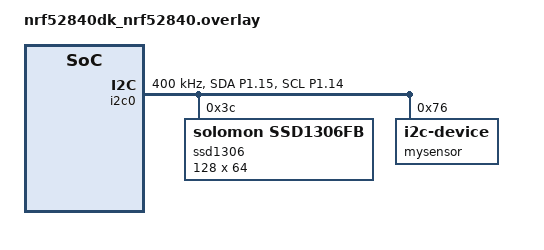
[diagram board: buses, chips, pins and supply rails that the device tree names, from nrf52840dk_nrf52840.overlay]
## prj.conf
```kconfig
CONFIG_LV_Z_MEM_POOL_SIZE=16384
CONFIG_LV_Z_SHELL=y
CONFIG_MAIN_STACK_SIZE=4096

CONFIG_DISPLAY=y
CONFIG_DISPLAY_LOG_LEVEL_ERR=y

CONFIG_LOG=y
CONFIG_SHELL=y

CONFIG_LVGL=y
CONFIG_LV_USE_LOG=y
CONFIG_LV_USE_LABEL=y
CONFIG_LV_USE_ARC=y
CONFIG_LV_USE_MONKEY=y
CONFIG_LV_FONT_MONTSERRAT_14=y

CONFIG_LV_USE_THEME_DEFAULT=y
CONFIG_LV_Z_VDB_SIZE=64
CONFIG_LV_COLOR_DEPTH_1=y

CONFIG_I2C=y
CONFIG_SSD1306=y
#CONFIG_SSD1306_DEFAULT_CONTRAST=128
CONFIG_CBPRINTF_FP_SUPPORT=y
#CONFIG_NRFX_TWIM_LOG=y 
```

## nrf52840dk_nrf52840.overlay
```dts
// To get started, press Ctrl+Space to bring up the completion menu and view the available nodes.

// You can also use the buttons in the sidebar to perform actions on nodes.
// Actions currently available include:

// * Enabling / disabling the node
// * Adding the bus to a bus
// * Removing the node
// * Connecting ADC channels

// For more help, browse the DeviceTree documentation at https://docs.zephyrproject.org/latest/guides/dts/index.html
// You can also visit the nRF DeviceTree extension documentation at https://docs.nordicsemi.com/bundle/nrf-connect-vscode/page/guides/ncs_configure_app.html#devicetree-support-in-the-extension

/ {
	chosen {
		zephyr,display = &ssd1306;
	};
};


&i2c0 {
    compatible = "nordic,nrf-twim";
    status = "okay";
    pinctrl-0 = <&i2c0_default>;
    pinctrl-1 = <&i2c0_sleep>;
    pinctrl-names = "default", "sleep";
    clock-frequency = <I2C_BITRATE_FAST>;
    zephyr,concat-buf-size = <4096>;

    ssd1306: ssd1306@3c {
        compatible = "solomon,ssd1306fb";
        reg = <0x3c>;
        height = <64>;
        width = <128>;
        segment-offset = <0>;
        page-offset = <0>;
        display-offset = <0>;
        multiplex-ratio = <63>;
        prechargep = <0x22>;
        com-invdir;
        segment-remap;
		inversion-on;
    };
    mysensor: mysensor@76{
        compatible = "i2c-device";
        status = "okay";
        reg = <0x76>;
    };
};


&pinctrl {
	/omit-if-no-ref/ i2c0_default: i2c0_default {
		group1  {
			psels = <NRF_PSEL(TWIM_SDA, 1, 15)>, <NRF_PSEL(TWIM_SCL, 1, 14)>;
			bias-pull-up;
		};
	};

	/omit-if-no-ref/ i2c0_sleep: i2c0_sleep {
		group1  {
			psels = <NRF_PSEL(TWIM_SCL, 1, 14)>,
					<NRF_PSEL(TWIM_SDA, 1, 15)>;
			low-power-enable;
		};
	};
};
```

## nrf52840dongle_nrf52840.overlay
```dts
// To get started, press Ctrl+Space to bring up the completion menu and view the available nodes.

// You can also use the buttons in the sidebar to perform actions on nodes.
// Actions currently available include:

// * Enabling / disabling the node
// * Adding the bus to a bus
// * Removing the node
// * Connecting ADC channels

// For more help, browse the DeviceTree documentation at https://docs.zephyrproject.org/latest/guides/dts/index.html
// You can also visit the nRF DeviceTree extension documentation at https://docs.nordicsemi.com/bundle/nrf-connect-vscode/page/guides/ncs_configure_app.html#devicetree-support-in-the-extension

/ {
	chosen {
		zephyr,display = &ssd1306;
	};
};


&i2c0 {
    compatible = "nordic,nrf-twim";
    status = "okay";
    pinctrl-0 = <&i2c0_default>;
    pinctrl-1 = <&i2c0_sleep>;
    pinctrl-names = "default", "sleep";
    clock-frequency = <I2C_BITRATE_FAST>;
    zephyr,concat-buf-size = <4096>;

    ssd1306: ssd1306@3c {
        compatible = "solomon,ssd1306fb";
        reg = <0x3c>;
        height = <64>;
        width = <128>;
        segment-offset = <0>;
        page-offset = <0>;
        display-offset = <0>;
        multiplex-ratio = <63>;
        prechargep = <0x22>;
        com-invdir;
        segment-remap;
		inversion-on;
    };
    mysensor: mysensor@76{
        compatible = "i2c-device";
        status = "okay";
        reg = <0x76>;
    };
};


&pinctrl {
	/omit-if-no-ref/ i2c0_default: i2c0_default {
		group1  {
			psels = <NRF_PSEL(TWIM_SDA, 1, 10)>, <NRF_PSEL(TWIM_SCL, 0, 2)>;
			bias-pull-up;
		};
	};

	/omit-if-no-ref/ i2c0_sleep: i2c0_sleep {
		group1  {
			psels = <NRF_PSEL(TWIM_SCL, 1, 14)>,
					<NRF_PSEL(TWIM_SDA, 1, 15)>;
			low-power-enable;
		};
	};
};
```

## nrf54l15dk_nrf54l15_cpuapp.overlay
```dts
// To get started, press Ctrl+Space to bring up the completion menu and view the available nodes.

// You can also use the buttons in the sidebar to perform actions on nodes.
// Actions currently available include:

// * Enabling / disabling the node
// * Adding the bus to a bus
// * Removing the node
// * Connecting ADC channels

// For more help, browse the DeviceTree documentation at https://docs.zephyrproject.org/latest/guides/dts/index.html
// You can also visit the nRF DeviceTree extension documentation at https://docs.nordicsemi.com/bundle/nrf-connect-vscode/page/guides/ncs_configure_app.html#devicetree-support-in-the-extension
/ {
	chosen {
		zephyr,display = &ssd1306;
	};
};


&i2c22 {
    status = "okay";
    pinctrl-0 = <&i2c22_default>;
	pinctrl-1 = <&i2c22_sleep>;
    pinctrl-names = "default", "sleep";

    compatible = "nordic,nrf-twim";
    clock-frequency = <I2C_BITRATE_FAST>;
    zephyr,concat-buf-size = <4096>;

    mysensor: mysensor@76{
        compatible = "i2c-device";
        status = "okay";
        reg = < 0x76 >;
    };

    ssd1306: ssd1306@3c {
        compatible = "solomon,ssd1306fb";
        reg = <0x3c>;
        height = <64>;
        width = <128>;
        segment-offset = <0>;
        page-offset = <0>;
        display-offset = <0>;
        multiplex-ratio = <63>;
        prechargep = <0x22>;
        com-invdir;
        segment-remap;
		inversion-on;
    };

};

&pinctrl {
	/omit-if-no-ref/ i2c22_default: i2c22_default {
		group1  {
			psels = <NRF_PSEL(TWIM_SCL, 1, 11)>,
					<NRF_PSEL(TWIM_SDA, 1, 12)>;
			bias-pull-up;	
		};
	};

	/omit-if-no-ref/ i2c22_sleep: i2c22_sleep {
		group1  {
			psels = <NRF_PSEL(TWIM_SCL, 1, 11)>,
					<NRF_PSEL(TWIM_SDA, 1, 12)>;
			low-power-enable;
		};
	};
};
```

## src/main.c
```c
#include <lvgl.h>
#include <lvgl_input_device.h>
#include <stdint.h>
#include <string.h>
#include <zephyr/device.h>
#include <zephyr/devicetree.h>
#include <zephyr/drivers/display.h>
#include <zephyr/drivers/gpio.h>
#include <zephyr/kernel.h>
#include <zephyr/logging/log.h>
#include <zephyr/drivers/i2c.h>
#include "logo_image.h"

#define BASIC_TEST

#define DISPLAY_BUFFER_PITCH 128

LOG_MODULE_REGISTER(display);

#ifdef BASIC_TEST
static uint32_t count;

static const struct device *display = DEVICE_DT_GET(DT_CHOSEN(zephyr_display));

static struct gpio_dt_spec btn0_gpio = GPIO_DT_SPEC_GET_OR(DT_ALIAS(sw0), gpios, {0});
static struct gpio_callback btn0_callback;

static void btn01_isr_callback(const struct device *port, struct gpio_callback *cb, uint32_t pins)
{
    ARG_UNUSED(port);
    ARG_UNUSED(cb);
    ARG_UNUSED(pins);

    count = 0;
}

static void lv_btn_click_callback(lv_event_t *e)
{
    ARG_UNUSED(e);

    count = 0;
}

#define CHIP_ID  0x58
#define SENSOR_CONFIG_VALUE 0x93
#define CTRLMEAS 0xF4
#define CALIB00	 0x88
#define ID	     0xD0
#define TEMPMSB	 0xFA

#define I2C_NODE DT_NODELABEL(mysensor)

/* Data structure to store BME280 data */
struct bme280_data {
	/* Compensation parameters */
	uint16_t dig_t1;
	int16_t dig_t2;
	int16_t dig_t3;
} bmedata;


void bme_calibrationdata(const struct i2c_dt_spec *spec, struct bme280_data *sensor_data_ptr)
{
	/* Step 10 - Put calibration function code */
	uint8_t values[6];

	int ret = i2c_burst_read_dt(spec, CALIB00, values, 6);

	if (ret != 0) {
		printk("Failed to read register %x \n", CALIB00);
		return;
	}
	sensor_data_ptr->dig_t1 = ((uint16_t)values[1]) << 8 | values[0];
	sensor_data_ptr->dig_t2 = ((uint16_t)values[3]) << 8 | values[2];
	sensor_data_ptr->dig_t3 = ((uint16_t)values[5]) << 8 | values[4];
	
}

/* Compensate current temperature using previously stored sensor calibration data */
static int32_t bme280_compensate_temp(struct bme280_data *data, int32_t adc_temp)
{
	int32_t var1, var2;

	var1 = (((adc_temp >> 3) - ((int32_t)data->dig_t1 << 1)) * ((int32_t)data->dig_t2)) >> 11;

	var2 = (((((adc_temp >> 4) - ((int32_t)data->dig_t1)) *
		  ((adc_temp >> 4) - ((int32_t)data->dig_t1))) >>
		 12) *
		((int32_t)data->dig_t3)) >>
	       14;

	return ((var1 + var2) * 5 + 128) >> 8;
}
static const struct i2c_dt_spec dev_i2c = I2C_DT_SPEC_GET(I2C_NODE);
static int init_sensor()
{
	/* STEP 7 - Retrieve the API-specific device structure and make sure that the device is
	 * ready to use  */

	if (!device_is_ready(dev_i2c.bus)) {
		printk("I2C bus %s is not ready!\n\r",dev_i2c.bus->name);
		return -1;
	}
	/* STEP 9 - Verify it is proper device by reading device id  */
	  uint8_t id = 0;
	uint8_t regs[] = {ID};

	int ret = i2c_write_read_dt(&dev_i2c, regs, 1, &id, 1);

	if (ret != 0) {
		printk("Failed to read register %x \n", regs[0]);
		return -1;
	}

	if (id != CHIP_ID) {
		printk("Invalid chip id! %x \n", id);
		return -1;
	}

	bme_calibrationdata(&dev_i2c, &bmedata);

	/* STEP 11 - Setup the sensor by writing the value 0x93 to the Configuration register */
	uint8_t sensor_config[] = {CTRLMEAS, SENSOR_CONFIG_VALUE};

	
	ret = i2c_write_dt(&dev_i2c, sensor_config, 2);

	if (ret != 0) {
		printk("Failed to write register %x \n", sensor_config[0]);
		return -1;
	}
}

static float get_temp()
{
	uint8_t temp_val[3] = {0};

	int ret = i2c_burst_read_dt(&dev_i2c, TEMPMSB, temp_val, 3);

	if (ret != 0)
	{
		printk("Failed to read register %x \n", TEMPMSB);
		k_msleep(100);
		return 0.0;
	}
	/* STEP 12.1 - Put the data read from registers into actual order (see datasheet) */
	int32_t adc_temp =
		(temp_val[0] << 12) | (temp_val[1] << 4) | ((temp_val[2] >> 4) & 0x0F);
	/* STEP 12.2 - Compensate temperature */
	int32_t comp_temp = bme280_compensate_temp(&bmedata, adc_temp);
	/* STEP 12.3 - Convert temperature */
	float temperature = (float)comp_temp / 100.0f;

	return temperature;
}
int main(void)
{
	init_sensor();
    if (display == NULL)
    {
        LOG_ERR("device pointer is NULL");
        return 0;
    }

    if (!device_is_ready(display))
    {
        LOG_ERR("display device is not ready");
        return 0;
    }

    if (gpio_is_ready_dt(&btn0_gpio))
    {
        int err;

        err = gpio_pin_configure_dt(&btn0_gpio, GPIO_INPUT);
        if (err)
        {
            LOG_ERR("failed to configure button gpio: %d", err);
            return 0;
        }

        gpio_init_callback(&btn0_callback, btn01_isr_callback, BIT(btn0_gpio.pin));

        err = gpio_add_callback(btn0_gpio.port, &btn0_callback);
        if (err)
        {
            LOG_ERR("failed to add button callback: %d", err);
            return 0;
        }

        err = gpio_pin_interrupt_configure_dt(&btn0_gpio, GPIO_INT_EDGE_TO_ACTIVE);
        if (err)
        {
            LOG_ERR("failed to enable button callback: %d", err);
            return 0;
        }
    }

    struct display_capabilities capabilities;
    display_get_capabilities(display, &capabilities);

    const uint16_t x_res = capabilities.x_resolution;
    const uint16_t y_res = capabilities.y_resolution;

    LOG_INF("x_resolution: %d", x_res);
    LOG_INF("y_resolution: %d", y_res);
    LOG_INF("supported pixel formats: %d", capabilities.supported_pixel_formats);
    LOG_INF("screen_info: %d", capabilities.screen_info);
    LOG_INF("current_pixel_format: %d", capabilities.current_pixel_format);
    LOG_INF("current_orientation: %d", capabilities.current_orientation);

    display_blanking_off(display);

    const struct display_buffer_descriptor buf_desc = {
        .width = x_res, .height = y_res, .buf_size = x_res * y_res, .pitch = DISPLAY_BUFFER_PITCH};

    if (display_write(display, 0, 0, &buf_desc, logo_buf) != 0)
    {
        LOG_ERR("could not write to display");
    }

    if (display_set_contrast(display, 0) != 0)
    {
        LOG_ERR("could not set display contrast");
    }

    const size_t ms_sleep = 5;

    // Increase brightness
    for (size_t i = 0; i < 255; i++)
    {
        display_set_contrast(display, i);
        k_sleep(K_MSEC(ms_sleep));
    }

    // Decrease brightness
    for (size_t i = 255; i > 0; i--)
    {
        display_set_contrast(display, i);
        k_sleep(K_MSEC(ms_sleep));
    }

    display_blanking_on(display);

    char count_str[11] = {0};
    lv_obj_t *hello_world_label;
    lv_obj_t *count_label;

    if (IS_ENABLED(CONFIG_LV_Z_POINTER_INPUT))
    {
        lv_obj_t *hello_world_button;

        hello_world_button = lv_btn_create(lv_scr_act());
        lv_obj_align(hello_world_button, LV_ALIGN_CENTER, 0, -15);
        lv_obj_add_event_cb(hello_world_button, lv_btn_click_callback, LV_EVENT_CLICKED, NULL);
        hello_world_label = lv_label_create(hello_world_button);
    }
    else
    {
        hello_world_label = lv_label_create(lv_scr_act());
    }

    lv_label_set_text(hello_world_label, "Temperature");
    lv_obj_align(hello_world_label, LV_ALIGN_CENTER, 0, 0);

    count_label = lv_label_create(lv_scr_act());
    lv_obj_align(count_label, LV_ALIGN_BOTTOM_MID, 0, 0);

    lv_task_handler();
    display_blanking_off(display);

    while (true)
    {

		float temperature = get_temp();
		char temp_str[] = "-1000.00 C";
		sprintf(temp_str, "%8.2f C", temperature);
		lv_label_set_text(count_label, temp_str);
		lv_task_handler();
        k_sleep(K_MSEC(1000));
    }
}

#else

#endif
```

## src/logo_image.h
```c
uint8_t buf[1024] = {
    0x00, 0x00, 0x00, 0x00, 0x00, 0x00, 0x00, 0x00, 0x00, 0x00, 0x00, 0x00, 0x00, 0x00, 0x00, 0x00, 0x00, 0x00, 0x00,
    0x00, 0x00, 0x00, 0x00, 0x00, 0x00, 0x00, 0x00, 0x00, 0x00, 0x00, 0x00, 0x00, 0x00, 0x00, 0x00, 0x00, 0x00, 0x00,
    0x00, 0x00, 0x00, 0x00, 0x00, 0x00, 0x00, 0x00, 0x00, 0x00, 0x00, 0x00, 0x00, 0x00, 0x00, 0x00, 0x00, 0x00, 0x00,
    0x00, 0x00, 0x80, 0x80, 0x80, 0x80, 0x00, 0x00, 0x80, 0x80, 0x80, 0x80, 0x00, 0x00, 0x00, 0x00, 0x00, 0x00, 0x00,
    0x00, 0x00, 0x00, 0x00, 0x00, 0x00, 0x00, 0x00, 0x00, 0x00, 0x00, 0x00, 0x00, 0x00, 0x00, 0x00, 0x00, 0x00, 0x00,
    0x00, 0x00, 0x00, 0x00, 0x00, 0x00, 0x00, 0x00, 0x00, 0x00, 0x00, 0x00, 0x00, 0x00, 0x00, 0x00, 0x00, 0x00, 0x00,
    0x00, 0x00, 0x00, 0x00, 0x00, 0x00, 0x00, 0x00, 0x00, 0x00, 0x00, 0x00, 0x00, 0x00, 0x00, 0x00, 0x00, 0x00, 0x00,
    0x00, 0x00, 0x00, 0x00, 0x00, 0x00, 0x00, 0x00, 0x00, 0x00, 0x00, 0x00, 0x00, 0x00, 0x00, 0x00, 0x00, 0x00, 0x00,
    0x00, 0x00, 0x00, 0x00, 0x00, 0x00, 0x00, 0x00, 0x00, 0x00, 0x00, 0x00, 0x00, 0x00, 0x00, 0x00, 0x00, 0x00, 0x00,
    0x00, 0x00, 0x00, 0x00, 0x80, 0xc0, 0xe0, 0xf0, 0xf8, 0xfc, 0xfc, 0xfe, 0xfe, 0xff, 0xff, 0xff, 0x1f, 0x1f, 0x0f,
    0x0f, 0x00, 0x00, 0x0f, 0x0f, 0x1f, 0x1f, 0xff, 0xff, 0xff, 0xfe, 0xfe, 0xfc, 0xfc, 0xf8, 0xf0, 0xe0, 0xc0, 0x80,
    0x00, 0x00, 0x00, 0x00, 0x00, 0x00, 0x00, 0x00, 0x00, 0x00, 0x00, 0x00, 0x00, 0x00, 0x00, 0x00, 0x00, 0x00, 0x00,
    0x00, 0x00, 0x00, 0x00, 0x00, 0x00, 0x00, 0x00, 0x00, 0x00, 0x00, 0x00, 0x00, 0x00, 0x00, 0x00, 0x00, 0x00, 0x00,
    0x00, 0x00, 0x00, 0x00, 0x00, 0x00, 0x00, 0x00, 0x00, 0x00, 0x00, 0x00, 0x00, 0x00, 0x00, 0x00, 0x00, 0x00, 0x00,
    0x00, 0x00, 0x00, 0x00, 0x00, 0x00, 0x00, 0x00, 0x00, 0x00, 0x00, 0x00, 0x00, 0x00, 0x00, 0x00, 0x00, 0x00, 0x00,
    0x00, 0x00, 0x00, 0x00, 0x00, 0x00, 0x00, 0x00, 0x00, 0x00, 0x00, 0x00, 0x00, 0x00, 0x00, 0xc0, 0xf8, 0xfe, 0xff,
    0xff, 0xff, 0xff, 0xff, 0xff, 0xff, 0xff, 0xff, 0xff, 0xff, 0xff, 0x86, 0x86, 0x86, 0x86, 0x86, 0x86, 0x86, 0x86,
    0x86, 0x86, 0xff, 0xff, 0xff, 0xff, 0xff, 0xff, 0xff, 0xff, 0xff, 0xff, 0xff, 0xff, 0xfe, 0xf8, 0xc0, 0x00, 0x00,
    0x00, 0x00, 0x00, 0x00, 0x00, 0x00, 0x00, 0x00, 0x00, 0x00, 0x00, 0x00, 0x00, 0x00, 0x00, 0x00, 0x00, 0x00, 0x00,
    0x00, 0x00, 0x00, 0x00, 0x00, 0x00, 0x00, 0x00, 0x00, 0x00, 0x00, 0x00, 0x00, 0x00, 0x00, 0x00, 0x00, 0x00, 0x00,
    0x00, 0x00, 0x00, 0x00, 0x00, 0x00, 0x00, 0x00, 0x00, 0x00, 0x00, 0x00, 0x00, 0x00, 0x00, 0x00, 0x00, 0x00, 0x00,
    0x00, 0x00, 0x00, 0x00, 0x00, 0x00, 0x00, 0x00, 0x00, 0x00, 0x00, 0x00, 0x00, 0x00, 0x00, 0x00, 0x00, 0x00, 0x00,
    0x00, 0x00, 0x00, 0x00, 0x00, 0x00, 0x00, 0x00, 0x00, 0x00, 0xff, 0xff, 0xff, 0xff, 0xff, 0xff, 0xff, 0xff, 0xff,
    0xff, 0xff, 0xff, 0xff, 0xff, 0xff, 0x21, 0x21, 0x21, 0x21, 0x21, 0x21, 0x21, 0x21, 0x21, 0x21, 0xff, 0xff, 0xff,
    0xff, 0xff, 0xff, 0xff, 0xff, 0xff, 0xff, 0xff, 0xff, 0xff, 0xff, 0xff, 0x00, 0x00, 0x00, 0x00, 0x00, 0x00, 0x00,
    0x00, 0x00, 0x00, 0x00, 0x00, 0x00, 0x00, 0x00, 0x00, 0x00, 0x00, 0x00, 0x00, 0x00, 0x00, 0x00, 0x00, 0x00, 0x00,
    0x00, 0x00, 0x00, 0x00, 0x00, 0x00, 0x00, 0x00, 0x00, 0x00, 0x00, 0x00, 0x00, 0x00, 0x00, 0x00, 0x00, 0x00, 0x00,
    0x00, 0x00, 0x00, 0x00, 0x00, 0x00, 0x00, 0x00, 0x00, 0x00, 0x00, 0x00, 0x00, 0x00, 0x00, 0x00, 0x00, 0x00, 0x00,
    0x00, 0x00, 0x00, 0x00, 0x00, 0x00, 0x00, 0x00, 0x00, 0x00, 0x00, 0x00, 0x00, 0x00, 0x00, 0x00, 0x00, 0x00, 0x00,
    0x00, 0x00, 0x00, 0x00, 0x00, 0x00, 0x07, 0x1f, 0x7f, 0xff, 0xff, 0xff, 0xff, 0xff, 0xff, 0xff, 0xff, 0xff, 0xff,
    0xff, 0x18, 0x18, 0x18, 0x18, 0x18, 0x18, 0x18, 0x18, 0x18, 0x18, 0xff, 0xff, 0xff, 0xff, 0xff, 0xff, 0xff, 0xff,
    0xff, 0xff, 0xff, 0x7f, 0x1f, 0x07, 0x00, 0x00, 0x00, 0x00, 0x00, 0x00, 0x00, 0x00, 0x00, 0x00, 0x00, 0x00, 0x00,
    0x00, 0x00, 0x00, 0x00, 0x00, 0x00, 0x00, 0x00, 0x00, 0x00, 0x00, 0x00, 0x00, 0x00, 0x00, 0x00, 0x00, 0x00, 0x00,
    0x00, 0x00, 0x00, 0x00, 0x00, 0x00, 0x00, 0x00, 0x00, 0x00, 0x00, 0x00, 0x00, 0x00, 0x00, 0x00, 0x00, 0x00, 0x00,
    0x00, 0x00, 0x00, 0x00, 0x00, 0x00, 0x00, 0x00, 0x00, 0x00, 0x00, 0x00, 0x00, 0x00, 0x00, 0x00, 0x00, 0x00, 0x00,
    0x00, 0x00, 0x00, 0x00, 0x00, 0x00, 0x00, 0x00, 0x00, 0x00, 0x00, 0x00, 0x00, 0x00, 0x00, 0x00, 0x00, 0x00, 0x00,
    0x00, 0x00, 0x00, 0x00, 0x00, 0x01, 0x03, 0x07, 0x0f, 0x0f, 0x1f, 0x1f, 0x3f, 0x3f, 0x3f, 0x7e, 0x7e, 0x7c, 0x7c,
    0x00, 0x00, 0x7c, 0x7c, 0x7e, 0x7e, 0x3f, 0x3f, 0x3f, 0x1f, 0x1f, 0x0f, 0x0f, 0x07, 0x03, 0x01, 0x00, 0x00, 0x00,
    0x00, 0x00, 0x00, 0x00, 0x00, 0x00, 0x00, 0x00, 0x00, 0x00, 0x00, 0x00, 0x00, 0x00, 0x00, 0x00, 0x00, 0x00, 0x00,
    0x00, 0x00, 0x00, 0x00, 0x00, 0x00, 0x00, 0x00, 0x00, 0x00, 0x00, 0x00, 0x00, 0x00, 0x00, 0x00, 0x00, 0x00, 0x00,
    0x00, 0x00, 0x00, 0x00, 0x00, 0x00, 0x00, 0x00, 0x00, 0x00, 0x00, 0x00, 0x00, 0x00, 0x00, 0x00, 0x00, 0x00, 0x00,
    0x00, 0x10, 0x10, 0xf0, 0x10, 0x10, 0x00, 0xf0, 0x80, 0x80, 0x80, 0xf0, 0x00, 0xf0, 0x90, 0x90, 0x90, 0x10, 0x00,
    0x00, 0x00, 0xf0, 0x90, 0x90, 0x90, 0x60, 0x00, 0xf0, 0x00, 0x00, 0x00, 0xf0, 0x00, 0xf0, 0x00, 0x00, 0x00, 0x00,
    0x00, 0xf0, 0x00, 0x00, 0x00, 0x00, 0x80, 0x80, 0x80, 0x00, 0xf0, 0x00, 0x00, 0x00, 0xf0, 0x00, 0xf0, 0x90, 0x90,
    0x90, 0x60, 0x00, 0x00, 0x00, 0xf0, 0x90, 0x90, 0x90, 0x60, 0x00, 0xf0, 0x90, 0x90, 0x10, 0x10, 0x00, 0x60, 0x90,
    0x90, 0x90, 0x10, 0x00, 0xf0, 0x00, 0x60, 0x90, 0x90, 0x90, 0x10, 0x00, 0x10, 0x10, 0xf0, 0x10, 0x10, 0x00, 0xe0,
    0x10, 0x10, 0x10, 0xe0, 0x00, 0xf0, 0x90, 0x90, 0x90, 0x60, 0x00, 0x00, 0x00, 0x00, 0x00, 0x00, 0x00, 0x00, 0x00,
    0x00, 0x00, 0x00, 0x00, 0x00, 0x00, 0x00, 0x00, 0x00, 0x00, 0x00, 0x00, 0x00, 0x00, 0x00, 0x00, 0x00, 0x07, 0x00,
    0x00, 0x00, 0x07, 0x00, 0x00, 0x00, 0x07, 0x00, 0x07, 0x04, 0x04, 0x04, 0x04, 0x00, 0x00, 0x00, 0x07, 0x00, 0x00,
    0x00, 0x00, 0x00, 0x03, 0x04, 0x04, 0x04, 0x03, 0x00, 0x07, 0x04, 0x04, 0x04, 0x04, 0x00, 0x07, 0x04, 0x04, 0x04,
    0x04, 0x00, 0x00, 0x00, 0x00, 0x03, 0x04, 0x04, 0x04, 0x03, 0x00, 0x07, 0x00, 0x00, 0x00, 0x00, 0x00, 0x00, 0x00,
    0x07, 0x00, 0x00, 0x01, 0x06, 0x00, 0x07, 0x04, 0x04, 0x04, 0x04, 0x00, 0x04, 0x04, 0x04, 0x04, 0x03, 0x00, 0x07,
    0x00, 0x04, 0x04, 0x04, 0x04, 0x03, 0x00, 0x00, 0x00, 0x07, 0x00, 0x00, 0x00, 0x03, 0x04, 0x04, 0x04, 0x03, 0x00,
    0x07, 0x00, 0x00, 0x01, 0x06, 0x00, 0x00, 0x00, 0x00, 0x00, 0x00, 0x00, 0x00, 0x00, 0x00, 0x00, 0x00};

uint8_t logo_buf[1024] = {
    0xff, 0xff, 0xff, 0xff, 0xff, 0xff, 0xff, 0xff, 0xff, 0xff, 0xff, 0xff, 0xff, 0xff, 0xff, 0xff, 0xff, 0xff, 0xff,
    0xff, 0xff, 0xff, 0xff, 0xff, 0xff, 0xff, 0xff, 0xff, 0xff, 0xff, 0xff, 0xff, 0xff, 0xff, 0xff, 0xff, 0xff, 0xff,
    0xff, 0xff, 0xff, 0xff, 0xff, 0xff, 0xff, 0x7f, 0x3f, 0xbf, 0xff, 0xdf, 0xef, 0xe7, 0xf7, 0xf7, 0xfb, 0xfb, 0xff,
    0xfd, 0xfd, 0xfd, 0xfd, 0xfd, 0xfd, 0xfd, 0xfd, 0xfd, 0xfd, 0xfd, 0xfd, 0xfd, 0xfd, 0xfd, 0xff, 0xfb, 0xfb, 0xf7,
    0xf7, 0xef, 0xdf, 0xdf, 0xbf, 0x7f, 0xff, 0xff, 0xff, 0xff, 0xff, 0xff, 0xff, 0xff, 0xff, 0xff, 0xff, 0xff, 0xff,
    0xff, 0xff, 0xff, 0xff, 0xff, 0xff, 0xff, 0xff, 0xff, 0xff, 0xff, 0xff, 0xff, 0xff, 0xff, 0xff, 0xff, 0xff, 0xff,
    0xff, 0xff, 0xff, 0xff, 0xff, 0xff, 0xff, 0xff, 0xff, 0xff, 0xff, 0xff, 0xff, 0xff, 0xff, 0xff, 0xff, 0xff, 0xff,
    0xff, 0xff, 0xff, 0xff, 0xff, 0xff, 0xff, 0xff, 0xff, 0xff, 0xff, 0xff, 0xff, 0xff, 0xff, 0xff, 0xff, 0xff, 0xff,
    0xff, 0xff, 0xff, 0xff, 0xff, 0xff, 0xff, 0xff, 0xff, 0xff, 0xff, 0xff, 0xff, 0xff, 0xff, 0x3f, 0xcf, 0xe7, 0xfb,
    0xfd, 0xfe, 0xff, 0xf7, 0xf8, 0x7e, 0xbe, 0xde, 0xe8, 0x3f, 0x57, 0x7f, 0xfb, 0x7b, 0xfd, 0xfd, 0xfd, 0xff, 0xfc,
    0xfe, 0xfe, 0xfe, 0xfe, 0xfe, 0xfe, 0xfd, 0xfd, 0x7d, 0xfb, 0x3b, 0xdb, 0xb7, 0x1f, 0xef, 0xdf, 0xb8, 0x7e, 0xff,
    0xff, 0xfe, 0xfc, 0xf9, 0xf3, 0xe7, 0xcf, 0x3f, 0xff, 0xff, 0xff, 0xff, 0xff, 0xff, 0xff, 0xff, 0xff, 0xff, 0xff,
    0xff, 0xff, 0xff, 0xff, 0xff, 0xff, 0xff, 0xff, 0xff, 0xff, 0xff, 0xff, 0xff, 0xff, 0xff, 0xff, 0xff, 0xff, 0xff,
    0xff, 0xff, 0xff, 0xff, 0xff, 0xff, 0xff, 0xff, 0xff, 0xff, 0xff, 0xff, 0xff, 0xff, 0xff, 0xff, 0xff, 0xff, 0xff,
    0xff, 0xff, 0xff, 0xff, 0xff, 0xff, 0xff, 0xff, 0xff, 0xff, 0xff, 0xff, 0xff, 0xff, 0xff, 0xff, 0xff, 0xff, 0xff,
    0xff, 0xff, 0xff, 0xff, 0xff, 0xff, 0xff, 0x3f, 0x87, 0xf8, 0xfe, 0xff, 0xff, 0xff, 0xff, 0x3f, 0xcf, 0xfb, 0xfe,
    0xfe, 0xff, 0xff, 0xff, 0xd7, 0x41, 0x02, 0x02, 0x01, 0x01, 0x01, 0x00, 0x00, 0x00, 0x00, 0x00, 0x00, 0x00, 0x00,
    0x00, 0x00, 0x00, 0x01, 0x24, 0xe3, 0xce, 0xf8, 0xff, 0x7f, 0x7f, 0x7f, 0x7f, 0x7e, 0xf9, 0xe7, 0x1f, 0xff, 0xff,
    0xff, 0xff, 0xff, 0xfc, 0xc3, 0x1f, 0xff, 0xff, 0xff, 0xff, 0xff, 0xff, 0xff, 0xff, 0xff, 0xff, 0xff, 0xff, 0xff,
    0xff, 0xff, 0xff, 0xff, 0xff, 0xff, 0xff, 0xff, 0xff, 0xff, 0xff, 0xff, 0xff, 0xff, 0xff, 0xff, 0xff, 0xff, 0xff,
    0xff, 0xff, 0xff, 0xff, 0xff, 0xff, 0xff, 0xff, 0xff, 0xff, 0xff, 0xff, 0xff, 0xff, 0xff, 0xff, 0xff, 0xff, 0xff,
    0xff, 0xff, 0xff, 0xff, 0xff, 0xff, 0xff, 0xff, 0xff, 0xff, 0xff, 0xff, 0xff, 0xff, 0xff, 0xff, 0xff, 0xff, 0xff,
    0xff, 0xff, 0x00, 0xff, 0xff, 0xff, 0xff, 0xff, 0xff, 0xef, 0xfe, 0xfb, 0xfd, 0xf1, 0xf9, 0x61, 0xa1, 0x41, 0x41,
    0xc0, 0x03, 0x00, 0x00, 0x00, 0x00, 0x00, 0x00, 0x00, 0x00, 0x00, 0x00, 0x00, 0x00, 0x00, 0x00, 0x00, 0x0c, 0x00,
    0x00, 0x00, 0x40, 0x80, 0x60, 0xb0, 0x7c, 0xfa, 0xfc, 0xfe, 0xff, 0xff, 0x01, 0xff, 0xff, 0xff, 0xff, 0xff, 0xff,
    0xf8, 0x07, 0xff, 0xff, 0xff, 0xff, 0xff, 0xff, 0xff, 0xff, 0xff, 0xff, 0xff, 0xff, 0xff, 0xff, 0xff, 0xff, 0xff,
    0xff, 0xff, 0xff, 0xff, 0xff, 0xff, 0xff, 0xff, 0xff, 0xff, 0xff, 0xff, 0xff, 0xff, 0xff, 0xff, 0xff, 0xff, 0xff,
    0xff, 0xff, 0xff, 0xff, 0xff, 0xff, 0xff, 0xff, 0xff, 0xff, 0xff, 0xff, 0xff, 0xff, 0xff, 0xff, 0xff, 0xff, 0xff,
    0xff, 0xff, 0xff, 0xff, 0xff, 0xff, 0xff, 0xff, 0xff, 0xff, 0xff, 0xff, 0xff, 0xff, 0xff, 0xff, 0xf0, 0x1f, 0xff,
    0xf3, 0xfb, 0xd7, 0xff, 0xff, 0xf1, 0xcf, 0x73, 0xf5, 0xf2, 0xf3, 0x83, 0x01, 0x01, 0x02, 0x00, 0x00, 0x06, 0x3c,
    0xf8, 0xf0, 0xf8, 0xf8, 0xf8, 0xe0, 0xe0, 0x00, 0xf8, 0xf8, 0xf8, 0xf8, 0xfc, 0x0e, 0x04, 0x00, 0x00, 0x00, 0x01,
    0xc3, 0xf6, 0xfd, 0xfe, 0xfd, 0x1b, 0xe3, 0xfc, 0xff, 0xf9, 0x87, 0xff, 0x7f, 0x07, 0xe0, 0xff, 0xff, 0xff, 0xff,
    0xff, 0xff, 0xff, 0xff, 0xff, 0xff, 0xff, 0xff, 0xff, 0xff, 0xff, 0xff, 0xff, 0xff, 0xff, 0xff, 0xff, 0xff, 0xff,
    0xff, 0xff, 0xff, 0xff, 0xff, 0xff, 0xff, 0xff, 0xff, 0xff, 0xff, 0xff, 0xff, 0xff, 0xff, 0xff, 0xff, 0xff, 0xff,
    0xff, 0xff, 0xff, 0xff, 0xff, 0xff, 0xff, 0xff, 0xff, 0xff, 0xff, 0xff, 0xff, 0xff, 0xff, 0xff, 0xff, 0xff, 0xff,
    0xff, 0xff, 0xff, 0xff, 0xff, 0xff, 0xff, 0xff, 0xff, 0xff, 0xff, 0xff, 0xff, 0xfc, 0xf3, 0xcf, 0x1c, 0x3f, 0x7f,
    0xff, 0xff, 0xff, 0xfc, 0xfb, 0xf7, 0x01, 0x00, 0x00, 0x00, 0x00, 0x00, 0x00, 0x00, 0x03, 0x0f, 0x1f, 0x7f, 0xff,
    0x3f, 0x7f, 0x00, 0xff, 0xff, 0x3f, 0x07, 0x00, 0x00, 0x00, 0x00, 0x00, 0x00, 0x00, 0x00, 0x81, 0xf3, 0xf9, 0xfc,
    0xff, 0xff, 0xff, 0x7f, 0x1f, 0xef, 0xf3, 0xf0, 0xff, 0xff, 0xff, 0xff, 0xff, 0xff, 0xff, 0xff, 0xff, 0xff, 0xff,
    0xff, 0xff, 0xff, 0xff, 0xff, 0xff, 0xff, 0xff, 0xff, 0xff, 0xff, 0xff, 0xff, 0xff, 0xff, 0xff, 0xff, 0xff, 0xff,
    0xff, 0xff, 0xff, 0xff, 0xff, 0xff, 0xff, 0xff, 0xff, 0xff, 0xff, 0xff, 0xff, 0xff, 0xff, 0xff, 0xff, 0xff, 0xff,
    0xff, 0xff, 0xff, 0xff, 0xff, 0xff, 0xff, 0xff, 0xff, 0xff, 0xff, 0xff, 0xff, 0xff, 0xff, 0xff, 0xff, 0xff, 0xff,
    0xff, 0xff, 0xff, 0xff, 0xff, 0xff, 0xff, 0xff, 0xff, 0xff, 0xff, 0xf8, 0xff, 0x00, 0x78, 0xf9, 0xf3, 0xe7, 0x0f,
    0xdf, 0xf6, 0xd0, 0x60, 0x00, 0x00, 0x00, 0x00, 0x00, 0x00, 0x00, 0x00, 0x00, 0x00, 0x00, 0x00, 0x00, 0x03, 0x00,
    0x00, 0x00, 0x00, 0x00, 0x00, 0x00, 0x00, 0x00, 0x00, 0x00, 0xef, 0xff, 0xf7, 0xf7, 0x03, 0xfd, 0xf2, 0xfc, 0xff,
    0xff, 0xff, 0xff, 0xff, 0xff, 0xff, 0xff, 0xff, 0xff, 0xff, 0xff, 0xff, 0xff, 0xff, 0xff, 0xff, 0xff, 0xff, 0xff,
    0xff, 0xff, 0xff, 0xff, 0xff, 0xff, 0xff, 0xff, 0xff, 0xff, 0xff, 0xff, 0xff, 0xff, 0xff, 0xff, 0xff, 0xff, 0xff,
    0xff, 0xff, 0xff, 0xff, 0xff, 0xff, 0xff, 0xff, 0xff, 0xff, 0xff, 0xff, 0xff, 0xff, 0xff, 0xff, 0xff, 0xff, 0xff,
    0xff, 0xff, 0xff, 0xff, 0xff, 0xff, 0xff, 0xff, 0xff, 0xff, 0xff, 0xff, 0xff, 0xff, 0xff, 0xff, 0xff, 0xff, 0xff,
    0xff, 0xff, 0xff, 0xff, 0xff, 0xff, 0xff, 0xff, 0xff, 0xff, 0xff, 0xff, 0xff, 0xff, 0xff, 0xff, 0xff, 0xff, 0xfc,
    0xfc, 0xf8, 0xf8, 0x80, 0x80, 0x80, 0x80, 0x80, 0x80, 0x80, 0x80, 0x80, 0x80, 0x80, 0x80, 0x80, 0x80, 0x80, 0x80,
    0x80, 0xbe, 0xbe, 0xfe, 0xfe, 0xff, 0xff, 0xff, 0xff, 0xff, 0xff, 0xff, 0xff, 0xff, 0xff, 0xff, 0xff, 0xff, 0xff,
    0xff, 0xff, 0xff, 0xff, 0xff, 0xff, 0xff, 0xff, 0xff, 0xff, 0xff, 0xff, 0xff, 0xff, 0xff, 0xff, 0xff, 0xff, 0xff,
    0xff, 0xff, 0xff, 0xff, 0xff, 0xff, 0xff, 0xff, 0xff, 0xff, 0xff, 0xff, 0xff, 0xff, 0xff, 0xff, 0xff};
```
